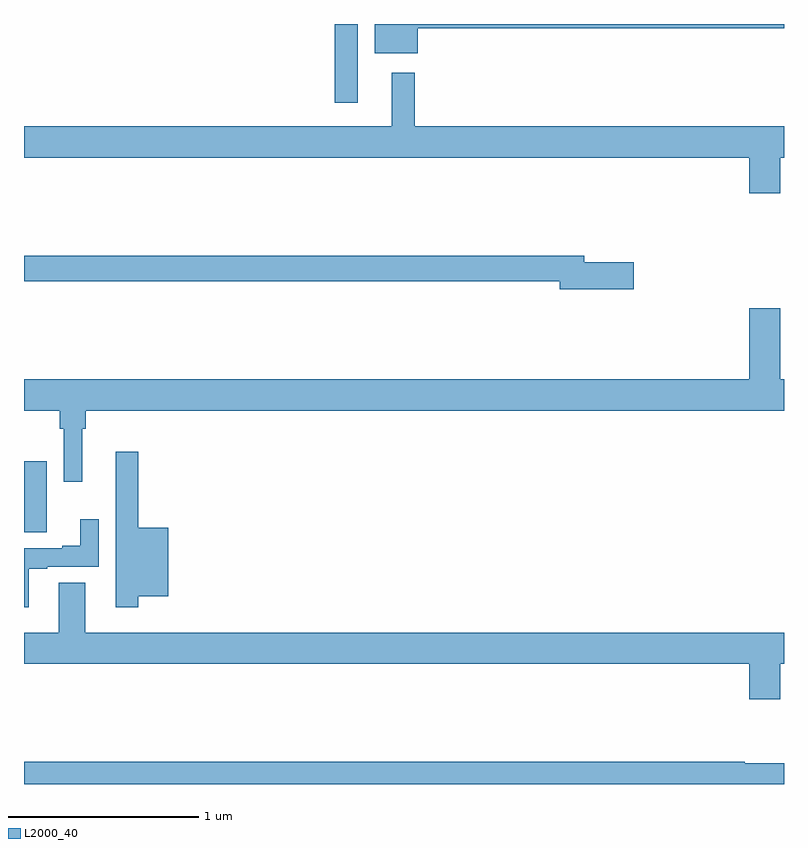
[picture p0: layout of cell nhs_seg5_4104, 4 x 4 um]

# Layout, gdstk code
import gdstk
lib = gdstk.Library(unit=1e-6, precision=1e-09)
def R(c, l, rs):  # rectangles x0, y0, x1, y1
    for r in rs: c.add(gdstk.rectangle(r[:2], r[2:], *l))
def P(c, l, *ps):  # polygons
    for p in ps: c.add(gdstk.Polygon(p, *l))
L2000_40 = (2000, 40)

nhs_seg5_4104 = lib.new_cell('nhs_seg5_4104')
R(nhs_seg5_4104, L2000_40, [(353,852.124,353.119,852.499), (354.636,854.385,354.757,854.799)])
P(nhs_seg5_4104, L2000_40, [(355.072,854.776),(357,854.776),(357,854.799),(354.845,854.799),(354.845,854.645),(355.072,854.645)],
  [(356.98,854.096),(357,854.096),(357,854.26),(355.057,854.26),(355.057,854.542),(354.935,854.542),(354.935,854.26),(353,854.26),(353,854.096),(356.816,854.096),(356.816,853.908),(356.98,853.908)],
  [(356.209,853.544),(355.948,853.544),(355.948,853.58),(353,853.58),(353,853.444),(355.82,853.444),(355.82,853.402),(356.209,853.402)],
  [(353.306,852.668),(353.324,852.668),(353.324,852.764),(357,852.764),(357,852.928),(356.98,852.928),(356.98,853.303),(356.816,853.303),(356.816,852.928),(353,852.928),(353,852.764),(353.188,852.764),(353.188,852.668),(353.208,852.668),(353.208,852.39),(353.306,852.39)],
  [(353.6,851.786),(353.758,851.786),(353.758,852.148),(353.6,852.148),(353.6,852.547),(353.483,852.547),(353.483,852.244),(353.484,852.244),(353.484,851.73),(353.6,851.73)],
  [(353.026,851.931),(353.122,851.931),(353.122,851.943),(353.394,851.943),(353.394,852.193),(353.297,852.193),(353.297,852.052),(353.201,852.052),(353.201,852.039),(353,852.039),(353,851.73),(353.026,851.73)],
  [(356.98,851.432),(357,851.432),(357,851.596),(353.323,851.596),(353.323,851.858),(353.183,851.858),(353.183,851.596),(353,851.596),(353,851.432),(356.816,851.432),(356.816,851.244),(356.98,851.244)],
  [(357,850.909),(356.794,850.909),(356.794,850.916),(353,850.916),(353,850.799),(357,850.799)])

lib.write_gds('nhs_seg5_4104.gds')
